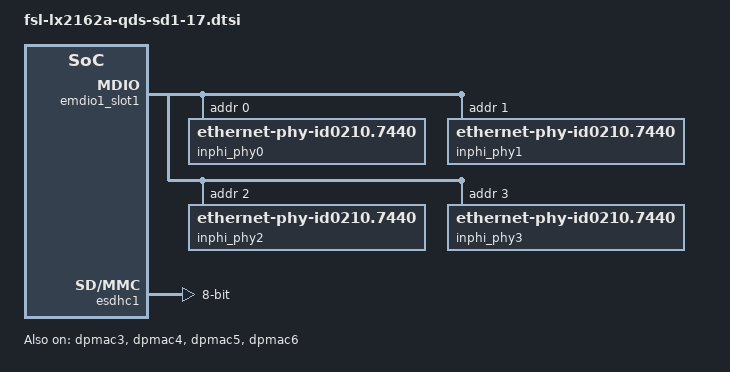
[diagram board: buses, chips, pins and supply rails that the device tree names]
// SPDX-License-Identifier: GPL-2.0+ OR X11
/*
 * NXP LX2162AQDS device tree source for the SERDES block #1 - protocol 17
 *
 * Some assumptions are made:
 *    * mezzanine card M8 is connected to IO SLOT1 (25g-aui for DPMAC 3,4,5,6)
 *
 * Copyright 2020-2021 NXP
 *
 */

#include "fsl-lx2160a-qds.dtsi"

&dpmac3 {
	status = "okay";
	phy-handle = <&inphi_phy0>;
	phy-connection-type = "25g-aui";
};

&dpmac4 {
	status = "okay";
	phy-handle = <&inphi_phy1>;
	phy-connection-type = "25g-aui";
};

&dpmac5 {
	status = "okay";
	phy-handle = <&inphi_phy2>;
	phy-connection-type = "25g-aui";
};

&dpmac6 {
	status = "okay";
	phy-handle = <&inphi_phy3>;
	phy-connection-type = "25g-aui";
};

&emdio1_slot1 {
	inphi_phy0: ethernet-phy@0 {
		compatible = "ethernet-phy-id0210.7440";
		reg = <0x0>;
	};

	inphi_phy1: ethernet-phy@1 {
		compatible = "ethernet-phy-id0210.7440";
		reg = <0x1>;
	};

	inphi_phy2: ethernet-phy@2 {
		compatible = "ethernet-phy-id0210.7440";
		reg = <0x2>;
	};

	inphi_phy3: ethernet-phy@3 {
		compatible = "ethernet-phy-id0210.7440";
		reg = <0x3>;
	};
};

&esdhc1 {
	mmc-hs200-1_8v;
	mmc-hs400-1_8v;
	bus-width = <8>;
};
